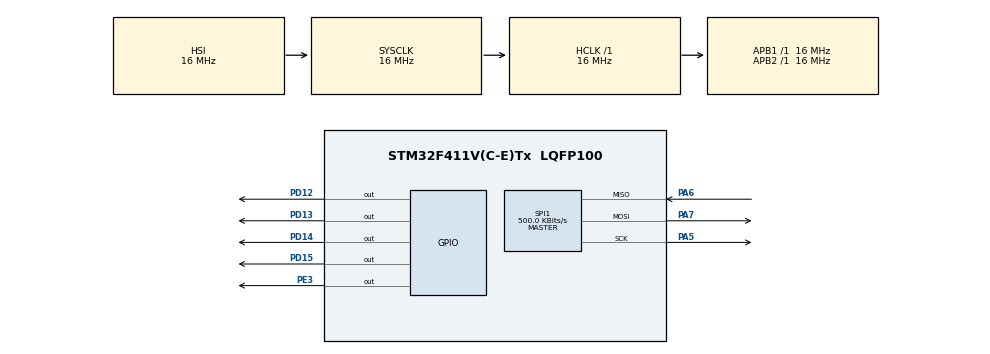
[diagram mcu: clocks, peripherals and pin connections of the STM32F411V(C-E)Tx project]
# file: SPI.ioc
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Mcu.Family=STM32F4
Mcu.Name=STM32F411V(C-E)Tx
Mcu.Package=LQFP100
NVIC.PriorityGroup=NVIC_PRIORITYGROUP_4
PA5.Mode=Full_Duplex_Master
PA5.Signal=SPI1_SCK
PA6.Mode=Full_Duplex_Master
PA6.Signal=SPI1_MISO
PA7.Mode=Full_Duplex_Master
PA7.Signal=SPI1_MOSI
PD12.Signal=GPIO_Output
PD13.Signal=GPIO_Output
PD14.Signal=GPIO_Output
PD15.Signal=GPIO_Output
PE3.Signal=GPIO_Output
ProjectManager.HeapSize=0x200
ProjectManager.StackSize=0x400
ProjectManager.TargetToolchain=STM32CubeIDE
RCC.AHBFreq_Value=16000000
RCC.APB1Freq_Value=16000000
RCC.APB2Freq_Value=16000000
RCC.CortexFreq_Value=16000000
RCC.HSE_VALUE=25000000
RCC.HSI_VALUE=16000000
RCC.LSE_VALUE=32768
RCC.SYSCLKFreq_VALUE=16000000
RCC.VCOOutputFreq_Value=192000000
SPI1.BaudRatePrescaler=SPI_BAUDRATEPRESCALER_32
SPI1.CalculateBaudRate=500.0 KBits/s
SPI1.Direction=SPI_DIRECTION_2LINES
SPI1.FirstBit=SPI_FIRSTBIT_MSB
SPI1.Mode=SPI_MODE_MASTER
SPI1.VirtualType=VM_MASTER
board=custom

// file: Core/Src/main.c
/* USER CODE BEGIN Header */
/**
  ******************************************************************************
  * @file           : main.c
  * @brief          : Main program body
  ******************************************************************************
  * @attention
  *
  * Copyright (c) 2023 STMicroelectronics.
  * All rights reserved.
  *
  * This software is licensed under terms that can be found in the LICENSE file
  * in the root directory of this software component.
  * If no LICENSE file comes with this software, it is provided AS-IS.
  *
  ******************************************************************************
  */
/* USER CODE END Header */
#include "main.h"

/* USER CODE BEGIN Includes */
#include "stm32f411e_discovery_gyroscope.h"
#include "stm32f411e_discovery.h"
/* USER CODE END Includes */

SPI_HandleTypeDef hspi1;

void SystemClock_Config(void);
static void MX_GPIO_Init(void);
static void MX_SPI1_Init(void);

int main(void)
{

  /* MCU Configuration--------------------------------------------------------*/

  /* Reset of all peripherals, Initializes the Flash interface and the Systick. */
  HAL_Init();

  /* Configure the system clock */
  SystemClock_Config();

  /* Initialize all configured peripherals */
  MX_GPIO_Init();
  MX_SPI1_Init();
  /* USER CODE BEGIN 2 */
  BSP_GYRO_Init();
  /* USER CODE END 2 */

  /* Infinite loop */
  /* USER CODE BEGIN WHILE */
  while (1)
  {
	  float pfData[3];
	  BSP_GYRO_GetXYZ(&pfData);

	  int level = 20000;
	  HAL_GPIO_WritePin(GPIOD, GPIO_PIN_12 | GPIO_PIN_13 | GPIO_PIN_14 | GPIO_PIN_15, GPIO_PIN_RESET);

	  if (pfData[0] >= level) {
		  HAL_GPIO_WritePin(GPIOD, GPIO_PIN_12, GPIO_PIN_SET);
	  }
	  else if (pfData[0] <= -level) {
		  HAL_GPIO_WritePin(GPIOD, GPIO_PIN_14, GPIO_PIN_SET);
	  }

	  if (pfData[1] >= level) {
		  HAL_GPIO_WritePin(GPIOD, GPIO_PIN_15, GPIO_PIN_SET);
	  }
	  else if (pfData[1] <= -level) {
		  HAL_GPIO_WritePin(GPIOD, GPIO_PIN_13, GPIO_PIN_SET);
	  }

	  HAL_Delay(40);
    /* USER CODE END WHILE */

  }
}

void SystemClock_Config(void)
{
  RCC_OscInitTypeDef RCC_OscInitStruct = {0};
  RCC_ClkInitTypeDef RCC_ClkInitStruct = {0};

  /** Configure the main internal regulator output voltage
  */
  __HAL_RCC_PWR_CLK_ENABLE();
  __HAL_PWR_VOLTAGESCALING_CONFIG(PWR_REGULATOR_VOLTAGE_SCALE1);

  /** Initializes the RCC Oscillators according to the specified parameters
  * in the RCC_OscInitTypeDef structure.
  */
  RCC_OscInitStruct.OscillatorType = RCC_OSCILLATORTYPE_HSI;
  RCC_OscInitStruct.HSIState = RCC_HSI_ON;
  RCC_OscInitStruct.HSICalibrationValue = RCC_HSICALIBRATION_DEFAULT;
  RCC_OscInitStruct.PLL.PLLState = RCC_PLL_NONE;
  if (HAL_RCC_OscConfig(&RCC_OscInitStruct) != HAL_OK)
  {
    Error_Handler();
  }

  /** Initializes the CPU, AHB and APB buses clocks
  */
  RCC_ClkInitStruct.ClockType = RCC_CLOCKTYPE_HCLK|RCC_CLOCKTYPE_SYSCLK
                              |RCC_CLOCKTYPE_PCLK1|RCC_CLOCKTYPE_PCLK2;
  RCC_ClkInitStruct.SYSCLKSource = RCC_SYSCLKSOURCE_HSI;
  RCC_ClkInitStruct.AHBCLKDivider = RCC_SYSCLK_DIV1;
  RCC_ClkInitStruct.APB1CLKDivider = RCC_HCLK_DIV1;
  RCC_ClkInitStruct.APB2CLKDivider = RCC_HCLK_DIV1;

  if (HAL_RCC_ClockConfig(&RCC_ClkInitStruct, FLASH_LATENCY_0) != HAL_OK)
  {
    Error_Handler();
  }
}

static void MX_SPI1_Init(void)
{

  /* SPI1 parameter configuration*/
  hspi1.Instance = SPI1;
  hspi1.Init.Mode = SPI_MODE_MASTER;
  hspi1.Init.Direction = SPI_DIRECTION_2LINES;
  hspi1.Init.DataSize = SPI_DATASIZE_8BIT;
  hspi1.Init.CLKPolarity = SPI_POLARITY_LOW;
  hspi1.Init.CLKPhase = SPI_PHASE_1EDGE;
  hspi1.Init.NSS = SPI_NSS_SOFT;
  hspi1.Init.BaudRatePrescaler = SPI_BAUDRATEPRESCALER_32;
  hspi1.Init.FirstBit = SPI_FIRSTBIT_MSB;
  hspi1.Init.TIMode = SPI_TIMODE_DISABLE;
  hspi1.Init.CRCCalculation = SPI_CRCCALCULATION_DISABLE;
  hspi1.Init.CRCPolynomial = 10;
  if (HAL_SPI_Init(&hspi1) != HAL_OK)
  {
    Error_Handler();
  }

}

static void MX_GPIO_Init(void)
{
  GPIO_InitTypeDef GPIO_InitStruct = {0};

  /* GPIO Ports Clock Enable */
  __HAL_RCC_GPIOE_CLK_ENABLE();
  __HAL_RCC_GPIOA_CLK_ENABLE();
  __HAL_RCC_GPIOD_CLK_ENABLE();

  /*Configure GPIO pin Output Level */
  HAL_GPIO_WritePin(GPIOE, GPIO_PIN_3, GPIO_PIN_RESET);

  /*Configure GPIO pin Output Level */
  HAL_GPIO_WritePin(GPIOD, GPIO_PIN_12|GPIO_PIN_13|GPIO_PIN_14|GPIO_PIN_15, GPIO_PIN_RESET);

  /*Configure GPIO pin : PE3 */
  GPIO_InitStruct.Pin = GPIO_PIN_3;
  GPIO_InitStruct.Mode = GPIO_MODE_OUTPUT_PP;
  GPIO_InitStruct.Pull = GPIO_NOPULL;
  GPIO_InitStruct.Speed = GPIO_SPEED_FREQ_LOW;
  HAL_GPIO_Init(GPIOE, &GPIO_InitStruct);

  /*Configure GPIO pins : PD12 PD13 PD14 PD15 */
  GPIO_InitStruct.Pin = GPIO_PIN_12|GPIO_PIN_13|GPIO_PIN_14|GPIO_PIN_15;
  GPIO_InitStruct.Mode = GPIO_MODE_OUTPUT_PP;
  GPIO_InitStruct.Pull = GPIO_NOPULL;
  GPIO_InitStruct.Speed = GPIO_SPEED_FREQ_LOW;
  HAL_GPIO_Init(GPIOD, &GPIO_InitStruct);

}

void Error_Handler(void)
{
  __disable_irq();
  while (1)
  {
  }
}
